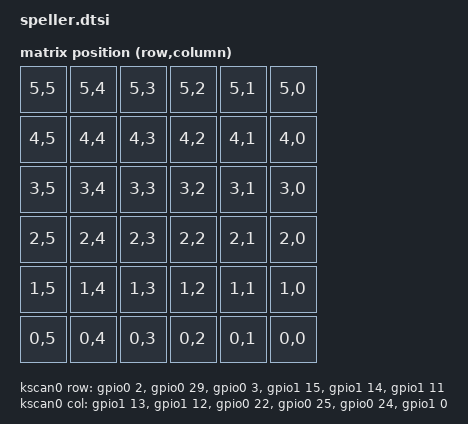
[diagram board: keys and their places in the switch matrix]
#include <dt-bindings/zmk/matrix_transform.h>
#include "speller-layouts.dtsi"

&physical_layout0 {
    transform = <&matrix_transform0>;
};

/ {
    chosen {
        zmk,kscan = &kscan0;
        zmk,physical-layout = &physical_layout0;
    };

    matrix_transform0: matrix_transform_0 {
        compatible = "zmk,matrix-transform";
        columns = <6>;
        rows = <6>;
        map = <
            RC(5,5) RC(5,4) RC(5,3) RC(5,2) RC(5,1) RC(5,0)
            RC(4,5) RC(4,4) RC(4,3) RC(4,2) RC(4,1) RC(4,0)
            RC(3,5) RC(3,4) RC(3,3) RC(3,2) RC(3,1) RC(3,0)
            RC(2,5) RC(2,4) RC(2,3) RC(2,2) RC(2,1) RC(2,0)
            RC(1,5) RC(1,4) RC(1,3) RC(1,2) RC(1,1) RC(1,0)
            RC(0,5) RC(0,4) RC(0,3) RC(0,2) RC(0,1) RC(0,0)
        >;
    };

    kscan0: kscan {
        compatible = "zmk,kscan-gpio-matrix";
        label = "KSCAN";

        wakeup-source;

        diode-direction = "row2col";
        row-gpios
            = <&gpio0 2  GPIO_ACTIVE_HIGH> // row0 from schematic
            , <&gpio0 29 GPIO_ACTIVE_HIGH> // row1 from schematic
            , <&gpio0 3  GPIO_ACTIVE_HIGH> // row2 from schematic
            , <&gpio1 15 GPIO_ACTIVE_HIGH> // row3 from schematic
            , <&gpio1 14 GPIO_ACTIVE_HIGH> // row4 from schematic
            , <&gpio1 11 GPIO_ACTIVE_HIGH> // row5 from schematic
            ;
        col-gpios
            = <&gpio1 13 (GPIO_ACTIVE_HIGH | GPIO_PULL_DOWN)> // col0 from schematic
            , <&gpio1 12 (GPIO_ACTIVE_HIGH | GPIO_PULL_DOWN)> // col1 from schematic
            , <&gpio0 22 (GPIO_ACTIVE_HIGH | GPIO_PULL_DOWN)> // col2 from schematic
            , <&gpio0 25 (GPIO_ACTIVE_HIGH | GPIO_PULL_DOWN)> // col3 from schematic
            , <&gpio0 24 (GPIO_ACTIVE_HIGH | GPIO_PULL_DOWN)> // col4 from schematic
            , <&gpio1 0  (GPIO_ACTIVE_HIGH | GPIO_PULL_DOWN)> // col5 from schematic
            ;

    };
};
